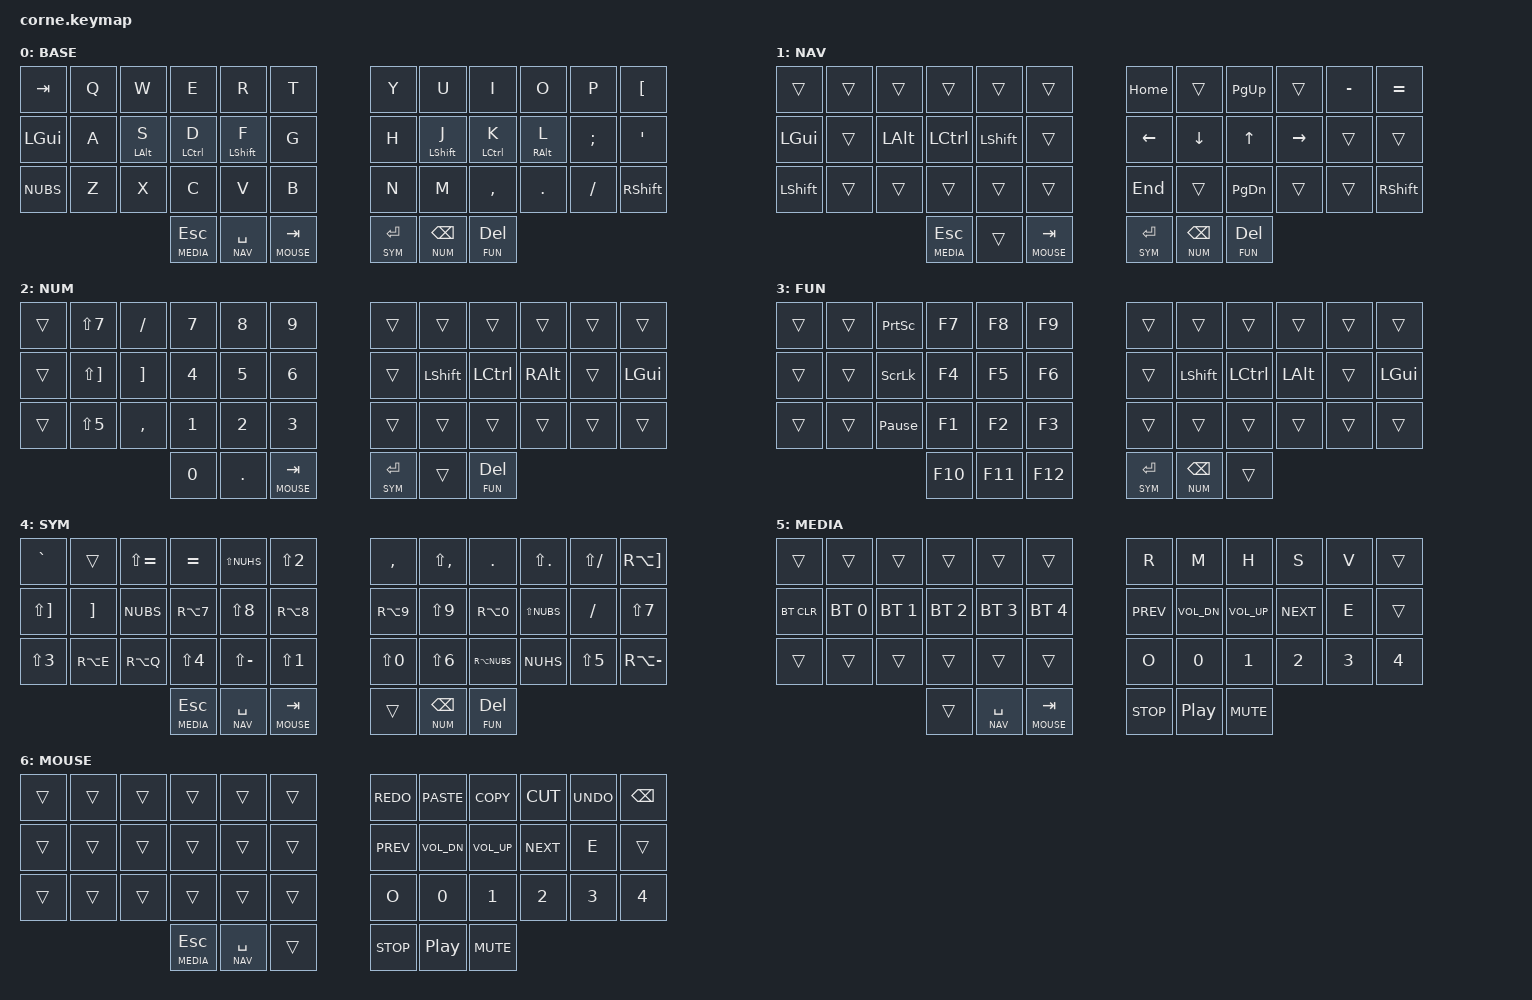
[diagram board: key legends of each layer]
/*
 * Copyright (c) 2020 The ZMK Contributors
 *
 * SPDX-License-Identifier: MIT
 */

#include <behaviors.dtsi>
#include <dt-bindings/zmk/keys.h>
#include <dt-bindings/zmk/bt.h>

&nice_view_spi {
  cs-gpios = <&pro_micro 0 GPIO_ACTIVE_HIGH>;
};

#define BASE 0
#define NAV 1
#define NUM 2
#define FUN 3
#define SYM 4
#define MEDIA 5
#define MOUSE 6

/ {
        behaviours {
            hm: homerow_mods {
                compatible = "zmk,behavior-hold-tap";
                label = "HOMEROW_MODS";
                #binding-cells = <2>;
                tapping-term-ms = <200>;
                quick-tap-ms = <0>;
                flavor = "tap-preferred";
                bindings = <&kp>, <&kp>;
            };
        };
        keymap {
                compatible = "zmk,keymap";

                base_layer {
// ┏━━━━━━━━━━━━━━━━━━━━━━━━━━━━━━━━━━━━━━━┓
label= "BASE"                              ;
// ┗━━━━━━━━━━━━━━━━━━━━━━━━━━━━━━━━━━━━━━━┛
// -----------------------------------------------------------------------------------------
// |  TAB |  Q  |  W  |  E  |  R  |  T   |   |  Y  |  U   |  I  |  O  |  P  | Ü |
// | CTRL |  A  |  S  |  D  |  F  |  G   |   |  H  |  J   |  K  |  L  |  Ö  |  Ä   |
// | >| |  Z  |  X  |  C  |  V  |  B     |   |  N  |  M   |  ,  |  .  |  -  | RSHFT |
//     | MEDIA ESC | NAV SPC | MOUSE TAB |   | SYM RET | NUM BSPC  | FUN DEL |
                        bindings = <
   &kp TAB   &kp Q      &kp W          &kp E          &kp R           &kp T          &kp Y         &kp U         &kp I       &kp O   &kp P    &kp LBKT
   &kp LGUI  &kp A      &hm LALT S     &hm LCTRL D    &hm LSHFT F     &kp G          &kp H         &hm LSHFT J   &hm LCTRL K &hm RALT L   &kp SEMI &kp SQT
   &kp NUBS  &kp Z      &kp X          &kp C          &kp V           &kp B          &kp N         &kp M         &kp COMMA   &kp DOT &kp FSLH &kp RSHFT
                                       &lt MEDIA ESC  &lt NAV SPACE   &lt MOUSE TAB  &lt SYM RET   &lt NUM BSPC  &lt FUN DEL
                        >;
                };
                nav_layer {
// ┏━━━━━━━━━━━━━━━━━━━━━━━━━━━━━━━━━━━━━━━┓
label= "NAV"                              ;
// ┗━━━━━━━━━━━━━━━━━━━━━━━━━━━━━━━━━━━━━━━┛
// -----------------------------------------------------------------------------------------
// |       |     |      |          |       |            |   | HOME    |           | PG UP   |     |  ß  | ´     |
// | LGUI  |     | LALT | LCTRL    | LSHFT |            |   | LFT     | DWN       | UP      | RGT |     |       |
// | LSHFT |     |      |          |       |            |   | END     |           | PG DN   |     |     | RSHFT |
//                     | MEDIA ESC |       | MOUSE TAB  |   | SYM RET | NUM BSPC  | FUN DEL |
                        bindings = <
   &trans     &trans    &trans       &trans         &trans       &trans         &kp HOME     &trans        &kp PG_UP    &trans      &kp MINUS &kp EQUAL
   &kp LGUI   &trans    &kp LALT     &kp LCTRL      &kp LSHFT    &trans         &kp LEFT     &kp DOWN      &kp UP       &kp RIGHT   &trans    &trans
   &kp LSHFT  &trans    &trans       &trans         &trans       &trans         &kp END      &trans        &kp PG_DN    &trans      &trans    &kp RSHFT
                                     &lt MEDIA ESC  &trans       &lt MOUSE TAB  &lt SYM RET  &lt NUM BSPC  &lt FUN DEL
                        >;
                };

                num_layer {
// ┏━━━━━━━━━━━━━━━━━━━━━━━━━━━━━━━━━━━━━━━┓
label= "NUM"                              ;
// ┗━━━━━━━━━━━━━━━━━━━━━━━━━━━━━━━━━━━━━━━┛
// -----------------------------------------------------------------------------------------
// |  / |  -  |  7  |  8  |  9  |  (  |   |  )  |  "  |  '  |  `  |  §  | BKSP |
// | *  |  +  |  4  |  5  |  6  |  {  |   |  }  |  LSHFT  |  LCTRL  |  LALT  |  LGUI  |      |
// | % |  ,  |  1  |  2  |  3  |  [   |   |  ]  |  !  |  =  |  &  |  ´|´  |  $   |
//            |    0    |   .   | ´   |   |  # |      | FUN DEL |
                        bindings = <
   &trans &kp LS(N7)    &kp FSLH   &kp N7  &kp N8   &kp N9          &trans       &trans     &trans       &trans    &trans    &trans
   &trans &kp LS(RBKT)  &kp RBKT   &kp N4  &kp N5   &kp N6          &trans       &kp LSHFT  &kp LCTRL    &kp RALT  &trans    &kp LGUI
   &trans &kp LS(N5)    &kp COMMA  &kp N1  &kp N2   &kp N3          &trans       &trans     &trans       &trans    &trans    &trans
                                   &kp N0  &kp DOT  &lt MOUSE TAB   &lt SYM RET  &trans     &lt FUN DEL
                        >;
                };
                fun_layer {
// ┏━━━━━━━━━━━━━━━━━━━━━━━━━━━━━━━━━━━━━━━┓
label= "FUN"                               ;
// ┗━━━━━━━━━━━━━━━━━━━━━━━━━━━━━━━━━━━━━━━┛
// -----------------------------------------------------------------------------------------
// |     |     |  F7  |  F8  |  F9  |  PSCRN  |   |     |        |        |       |       |     |
// |     |     |  F4  |  F5  |  F6  |  SLCK   |   |     |  LSHFT |  LCTRL |  LALT |  LGUI |      |
// |     |     |  F1  |  F2  |  F3  |  PAUSE  |   |     |        |        |       |       |      |
//                    |  F10 |  F11 |  F12    |   | SYM RET | NUM BSPC  |      |
                        bindings = <
   &trans  &trans  &kp PSCRN        &kp F7   &kp F8   &kp F9   &trans       &trans        &trans     &trans    &trans    &trans
   &trans  &trans  &kp SLCK         &kp F4   &kp F5   &kp F6   &trans       &kp LSHFT     &kp LCTRL  &kp LALT  &trans    &kp LGUI
   &trans  &trans  &kp PAUSE_BREAK  &kp F1   &kp F2   &kp F3   &trans       &trans        &trans     &trans    &trans    &trans
                                    &kp F10  &kp F11  &kp F12  &lt SYM RET  &lt NUM BSPC  &trans
                        >;
                };
                sym_layer {
// ┏━━━━━━━━━━━━━━━━━━━━━━━━━━━━━━━━━━━━━━━┓
label= "SYM"                               ;
// ┗━━━━━━━━━━━━━━━━━━━━━━━━━━━━━━━━━━━━━━━┛
// -----------------------------------------------------------------------------------------
// |       |  -  |  /  |  (  |  )  |  (  |   |  )  |    ü   |   '    |  `    |  §    |      |
// |       |  #  |  $  |  %  |  &  |  {  |   |  }  |  LSHFT |  LCTRL |  LALT |  LGUI |      |
// | ^ |     |  !  |  "  |  §  |  [  |   |  ]  |   !    |   =    |   &   |  ´|´  |  $   |
//                     |  =  |  ?  |  ´  |   |     | NUM BSPC  | FUN DEL |
                        bindings = <
   &kp GRAVE    &trans         &kp LS(EQUAL)  &kp EQUAL   &kp LS(NUHS)   &kp LS(N2)     &kp COMMA   &kp LS(COMMA)  &kp DOT      &kp LS(DOT)   &kp LS(FSLH)  &kp RA(RBKT)
   &kp LS(RBKT) &kp RBKT       &kp NUBS    &kp RA(N7)     &kp LS(N8)     &kp RA(N8)     &kp RA(N9)  &kp LS(N9)     &kp RA(N0)   &kp LS(NUBS)  &kp FSLH      &kp LS(N7)
   &kp LS(N3)   &kp RA(E)      &kp RA(Q)  &kp LS(N4)     &kp LS(MINUS)   &kp LS(N1)     &kp LS(N0)  &kp LS(N6)     &kp RA(NUBS) &kp NUHS      &kp LS(N5)    &kp RA(MINUS)
                                           &lt MEDIA ESC  &lt NAV SPACE  &lt MOUSE TAB  &trans      &lt NUM BSPC   &lt FUN DEL
                        >;
                };
                media_layer {
// ┏━━━━━━━━━━━━━━━━━━━━━━━━━━━━━━━━━━━━━━━┓
label= "MEDIA"                               ;
// ┗━━━━━━━━━━━━━━━━━━━━━━━━━━━━━━━━━━━━━━━┛
// -----------------------------------------------------------------------------------------
// |      |     |     |     |     |         |   |  R   |  M            |  H      |  S     |  V   |      |
// | BTCLR| BT1 | BT2 | BT3 | BT4 | BT5     |   | PREV |  VOL DN       | VOL UP  | NEXT   |  E   |      |
// |      |     |     |     |     |         |   |  O   |   0           |  1      |  2     |  3   |   4  |
//              |     | NAV SPC | MOUSE TAB |   | STOP | PLAY / PAUSE  | MUTE |
                        bindings = <
   &trans      &trans        &trans        &trans         &trans         &trans         &kp R       &kp M             &kp H         &kp S         &kp V       &trans
   &bt BT_CLR  &bt BT_SEL 0  &bt BT_SEL 1  &bt BT_SEL 2   &bt BT_SEL 3   &bt BT_SEL 4   &kp C_PREV  &kp C_VOL_DN      &kp C_VOL_UP  &kp C_NEXT    &kp E       &trans
   &trans      &trans        &trans        &trans         &trans         &trans         &kp O       &kp  N0           &kp N1        &kp N2        &kp N3      &kp N4
                                           &trans         &lt NAV SPACE  &lt MOUSE TAB  &kp C_STOP  &kp C_PLAY_PAUSE  &kp C_MUTE
                        >;
                };
                mouse_layer {
// ┏━━━━━━━━━━━━━━━━━━━━━━━━━━━━━━━━━━━━━━━┓
label= "MOUSE"                               ;
// ┗━━━━━━━━━━━━━━━━━━━━━━━━━━━━━━━━━━━━━━━┛
// -----------------------------------------------------------------------------------------
// |     |     |     |     |     |     |   |  REDO   |  PASTE        |  COPY   |  CUT   |  UNDO |  BSPC  |
// |     |     |     |     |     |     |   | PREV    |  VOL DN       | VOL UP  | NEXT   |  E    |        |
// |     |     |     |     |     |     |   |  O      |   0           |  1      |  2     |  3    |   4    |
//         | MEDIA ESC | NAV SPC |     |   | STOP    | PLAY / PAUSE  | MUTE |
                        bindings = <
   &trans  &trans  &trans  &trans         &trans         &trans    &kp K_REDO  &kp K_PASTE       &kp K_COPY    &kp K_CUT     &kp K_UNDO &kp BSPC
   &trans  &trans  &trans  &trans         &trans         &trans    &kp C_PREV  &kp C_VOL_DN      &kp C_VOL_UP  &kp C_NEXT    &kp E       &trans
   &trans  &trans  &trans  &trans         &trans         &trans    &kp O       &kp  N0           &kp N1        &kp N2        &kp N3     &kp N4
                           &lt MEDIA ESC  &lt NAV SPACE  &trans    &kp C_STOP  &kp C_PLAY_PAUSE  &kp C_MUTE
                        >;
                };
        };
};
